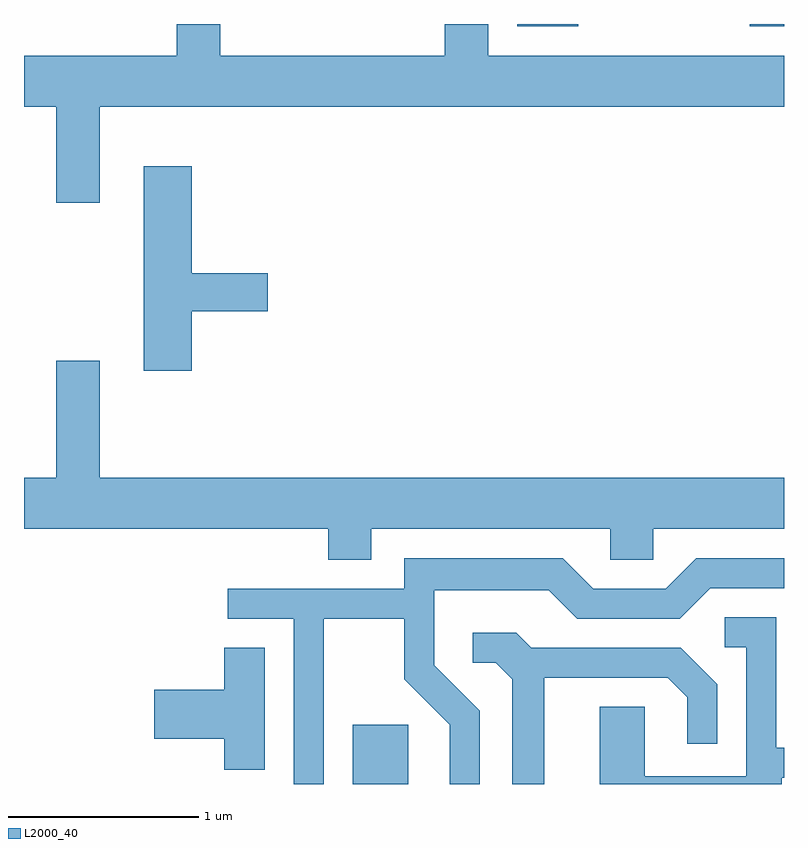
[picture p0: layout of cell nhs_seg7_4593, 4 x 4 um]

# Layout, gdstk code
import gdstk
lib = gdstk.Library(unit=1e-6, precision=1e-09)
def R(c, l, rs):  # rectangles x0, y0, x1, y1
    for r in rs: c.add(gdstk.rectangle(r[:2], r[2:], *l))
def P(c, l, *ps):  # polygons
    for p in ps: c.add(gdstk.Polygon(p, *l))
L2000_40 = (2000, 40)

nhs_seg7_4593 = lib.new_cell('nhs_seg7_4593')
R(nhs_seg7_4593, L2000_40, [(327.341,1766.252,327.634,1766.564), (328.206,1770.241,328.528,1770.252), (329.431,1770.241,329.611,1770.252)])
P(nhs_seg7_4593, L2000_40, [(326.009,1769.816),(329.611,1769.816),(329.611,1770.084),(328.054,1770.084),(328.054,1770.252),(327.826,1770.252),(327.826,1770.084),(326.644,1770.084),(326.644,1770.252),(326.416,1770.252),(326.416,1770.084),(325.611,1770.084),(325.611,1769.816),(325.781,1769.816),(325.781,1769.311),(326.009,1769.311)],
  [(326.494,1768.741),(326.894,1768.741),(326.894,1768.939),(326.494,1768.939),(326.494,1769.504),(326.241,1769.504),(326.241,1768.426),(326.494,1768.426)],
  [(327.439,1767.596),(328.696,1767.596),(328.696,1767.431),(328.924,1767.431),(328.924,1767.596),(329.611,1767.596),(329.611,1767.864),(326.009,1767.864),(326.009,1768.479),(325.781,1768.479),(325.781,1767.864),(325.611,1767.864),(325.611,1767.596),(327.211,1767.596),(327.211,1767.431),(327.439,1767.431)],
  [(327.189,1767.121),(327.611,1767.121),(327.611,1766.804),(327.851,1766.564),(327.851,1766.252),(328.009,1766.252),(328.009,1766.637),(327.769,1766.877),(327.769,1767.271),(328.374,1767.271),(328.524,1767.121),(329.062,1767.121),(329.222,1767.281),(329.611,1767.281),(329.611,1767.439),(329.149,1767.439),(328.989,1767.279),(328.607,1767.279),(328.447,1767.439),(327.611,1767.439),(327.611,1767.279),(326.683,1767.279),(326.683,1767.121),(327.031,1767.121),(327.031,1766.252),(327.189,1766.252)],
  [(329.599,1766.286),(329.611,1766.286),(329.611,1766.444),(329.569,1766.444),(329.569,1767.129),(329.298,1767.129),(329.298,1766.971),(329.411,1766.971),(329.411,1766.294),(328.879,1766.294),(328.879,1766.659),(328.641,1766.659),(328.641,1766.252),(329.599,1766.252)],
  [(328.349,1766.811),(328.999,1766.811),(329.101,1766.709),(329.101,1766.463),(329.259,1766.463),(329.259,1766.777),(329.067,1766.969),(328.282,1766.969),(328.202,1767.049),(327.973,1767.049),(327.973,1766.891),(328.094,1766.891),(328.181,1766.804),(328.181,1766.252),(328.349,1766.252)],
  [(326.879,1766.969),(326.666,1766.969),(326.666,1766.749),(326.296,1766.749),(326.296,1766.491),(326.666,1766.491),(326.666,1766.326),(326.879,1766.326)])

lib.write_gds('nhs_seg7_4593.gds')
